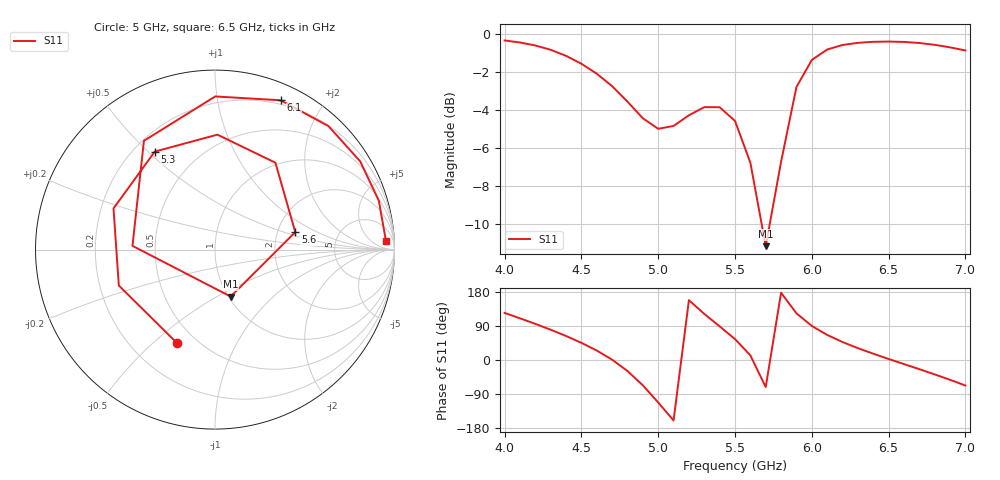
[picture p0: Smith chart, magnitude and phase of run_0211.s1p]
! Touchstone file exported from HFSS 2024.2.0
!  File:  C:/Users/wsak9/Desktop/Sim Fast/Widenad Patch/WP_AI_V1_sweep.aedt
!  Generated:  11:46:32 PM Oct 13, 2026
!  Design:  A1_model
!  Project:  WP_AI_V1_sweep
!  Setup:  Setup1
!  Solution:  Sweep
! Variables:
!  Air_gap = 4.92mm
!  Curve_Amp1 = 2.55
!  Curve_len1 = 1
!  Curve_pos = 11.01mm
!  Extra = 3.12mm
!  H_sub = 0.79mm
!  L_Patch = 18.02mm
!  L_Patch1 = 16.2mm
!  Sx = 1.92mm
!  Sy = 1.13mm
!  WS = 0.69mm
!  W_Patch = 14.22mm
!  W_Patch1 = 13.08mm
!Data is not renormalized
# GHz S MA
! Terminal data exported
! Port[1] = 1
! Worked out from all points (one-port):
!   31 points, 4 GHz to 7 GHz, reference per port
!   lowest |S11| = -11.2 dB at 5.7 GHz (marker M1), VSWR 1.76
!   |S11| at or under -10 dB: 5.673 GHz to 5.727 GHz (53.66 MHz wide, 0.942 % of centre)
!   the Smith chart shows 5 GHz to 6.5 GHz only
!   S11 on the Smith chart (normalised r, x): 5 GHz: 0.39, -0.60; 5.3 GHz: 0.28, +0.52; 5.6 GHz: 2.51, +0.62; 6.1 GHz: 0.16, +1.52; 6.5 GHz: 21, +21
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4  0.9604 124.2
4.2  0.9316 95.3
4.3  0.9074 79.9
4.4  0.8749 63.4
4.5  0.8339 45.3
4.6  0.785 25.0
4.7  0.7278 0.8
4.8  0.6628 -29.1
4.9  0.5991 -66.8
5  0.5621 -112.1
5.1  0.572 -159.5
5.2  0.6102 157.9
5.3  0.641 121.6
5.4  0.6406 88.8
5.5  0.5896 55.2
5.6  0.4576 12.3
5.7  0.2759 -71.5
5.8  0.4602 177.4
5.9  0.724 123.2
6  0.8533 89.9
6.1  0.909 66.2
6.2  0.9343 47.4
6.3  0.9467 31.3
6.4  0.9525 16.6
6.5  0.954 2.7
6.7  0.9457 -24.2
6.8  0.9354 -38.0
7  0.9039 -67.3
